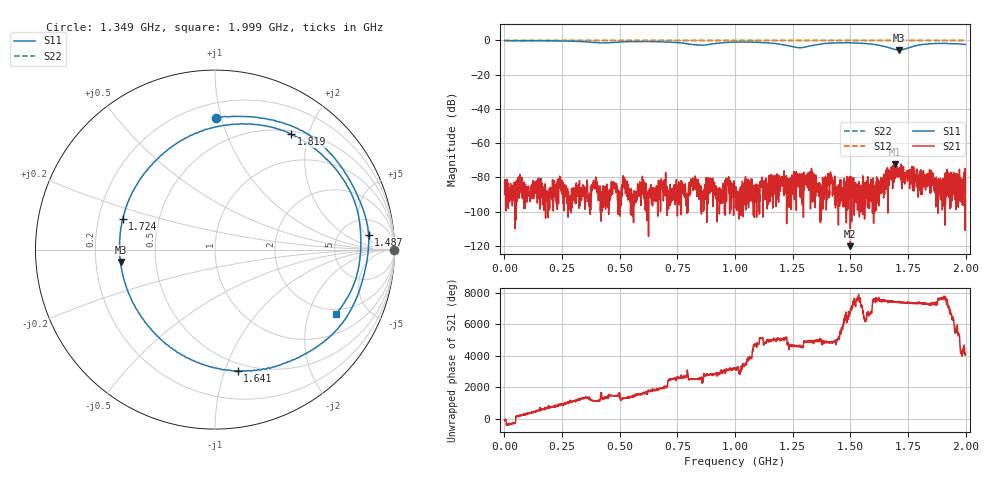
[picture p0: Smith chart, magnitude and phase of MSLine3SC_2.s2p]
! Anritsu VNA Master:  Model: MS2025B
! SN:  1642059
! /bd0/PROE/TP1/MSLine3SC_2.s2p
! Existing Calibration Information:
! TYPE:  Current Settings,  Active Cal Settings
! TIME:  04/16/2024 08:55:33 AM,  03/12/2018 11:45:53 AM
! INTERNAL TEMP:  42.5 C,  40.8 C
! # POINTS:  2857,  4001
! START FREQ:  1.000 MHz,  1.000 MHz
! STOP FREQ:  1.999 486 GHz,  2.800 GHz
! SOURCE POWER:  Default,  Default
! IFBW:  1 kHz,  1 kHz
! AVG FACTOR:  1 ,  1
! REF PLANE 1:  0 mm,  0 mm
! REF PLANE 2:  0 mm,  0 mm
! CAL TYPE:  1P2P S11,S21,  1P2P S11,S21
! CAL METHOD:  SOLT,  SOLT
! CAL LINE TYPE:  Coax,  Coax
! DUT PORT 1:  ,
! DUT PORT 2:  N-Conn(M),  N-Conn(M)
! CAL STATUS:  OK: Accuracy High,  --
# GHZ S MA R 50.0
! FREQ.GHZ  S11M  S11A  S21M  S21A  S12M  S12A  S22M  S22A
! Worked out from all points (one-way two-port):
!   2857 points, 1 MHz to 1.999 GHz, reference 50 ohm
!   highest |S21| = -72.22 dB at 1.696 GHz (marker M1); lowest = -120.2 dB at 1.501 GHz (marker M2)
!   lowest |S11| = -5.5 dB at 1.71 GHz (marker M3), VSWR 3.26, Z = 15.4 - j2.96 ohm
!   |S11| at or under -10 dB: nowhere
!   |S22| runs from 0.0 to 0.0 dB; largest |S21 - S12| = 1
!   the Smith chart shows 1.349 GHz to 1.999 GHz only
!   S11 on the Smith chart (normalised r, x): 1.349 GHz: 0.30, +0.96; 1.487 GHz: 10, +6; 1.641 GHz: 0.43, -1.11; 1.724 GHz: 0.30, +0.15; 1.819 GHz: 0.55, +1.73; 1.999 GHz: 1.77, -3.04
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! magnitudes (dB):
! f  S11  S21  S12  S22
! 1 MHz  -0.1  -89.8  0.0  0.0
! 334.1 MHz  -0.6  -89.9  0.0  0.0
! 423.6 MHz  -1.4  -88.1  0.0  0.0
! 667.2 MHz  -0.7  -87.9  0.0  0.0
! 855.4 MHz  -2.8  -96.8  0.0  0.0
! 1 GHz  -1.0  -85.1  0.0  0.0
! 1.159 GHz  -1.6  -85.7  0.0  0.0
! 1.278 GHz  -4.3  -80.0  0.0  0.0
! 1.333 GHz  -3.0  -84.1  0.0  0.0
! 1.349 GHz  -2.7  -81.7  0.0  0.0
! 1.487 GHz  -1.3  -94.9  0.0  0.0
! 1.501 GHz  -1.4  -120.2  0.0  0.0
! 1.641 GHz  -3.3  -85.2  0.0  0.0
! 1.666 GHz  -4.2  -79.3  0.0  0.0
! 1.687 GHz  -5.0  -76.8  0.0  0.0
! 1.696 GHz  -5.3  -72.2  0.0  0.0
! 1.71 GHz  -5.5  -77.0  0.0  0.0
! 1.724 GHz  -5.3  -86.6  0.0  0.0
! 1.792 GHz  -2.8  -80.5  0.0  0.0
! 1.819 GHz  -2.3  -82.0  0.0  0.0
! 1.895 GHz  -1.7  -85.8  0.0  0.0
! 1.999 GHz  -2.3  -93.1  0.0  0.0
